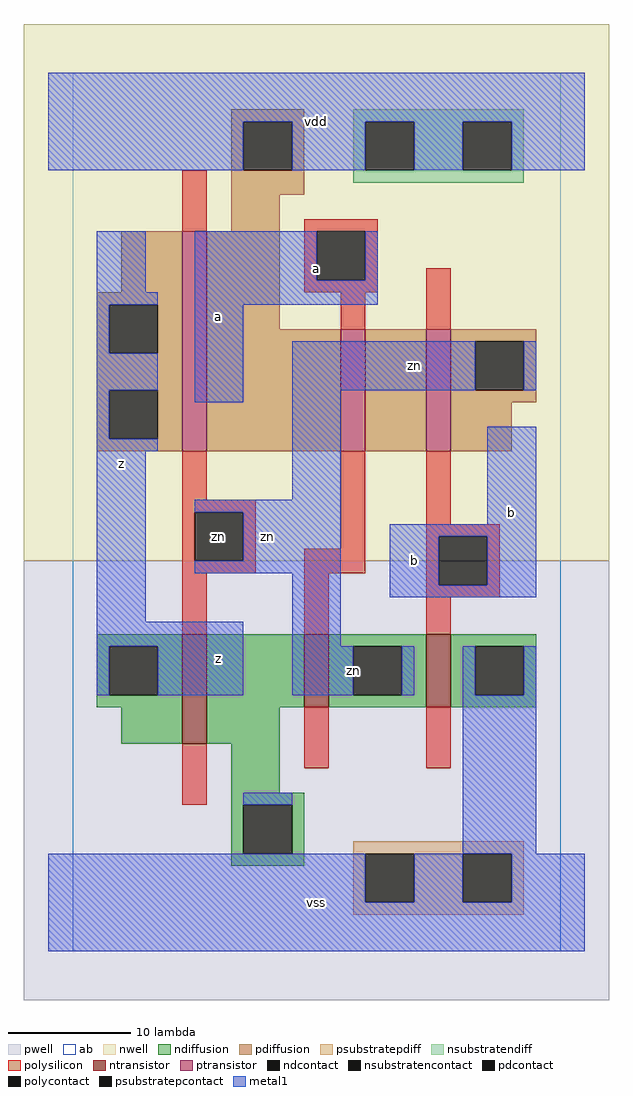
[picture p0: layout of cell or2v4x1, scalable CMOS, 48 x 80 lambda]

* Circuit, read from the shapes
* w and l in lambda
.subckt or2v4x1 a b vdd vss z zn
M1 vss zn z vss nfet w=9 l=2
M2 zn a vss vss nfet w=6 l=2
M3 vss b zn vss nfet w=6 l=2
M4 vdd zn z vdd pfet w=18 l=2
M5 n1 a vdd vdd pfet w=10 l=2
M6 zn b n1 vdd pfet w=10 l=2
.ends

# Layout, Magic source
magic
tech scmos
<< ab >>
rect 0 0 40 72
<< pwell >>
rect -4 -4 44 32
<< nwell >>
rect -4 32 44 76
<< polysilicon >>
rect 9 59 11 64
rect 19 59 25 60
rect 19 55 20 59
rect 24 55 25 59
rect 19 54 25 55
rect 22 51 24 54
rect 29 51 31 56
rect 9 37 11 41
rect 9 36 15 37
rect 9 32 10 36
rect 14 32 15 36
rect 22 33 24 41
rect 9 31 15 32
rect 19 31 24 33
rect 29 35 31 41
rect 29 34 35 35
rect 9 26 11 31
rect 19 26 21 31
rect 29 30 30 34
rect 34 30 35 34
rect 29 29 35 30
rect 29 26 31 29
rect 9 12 11 17
rect 19 15 21 20
rect 29 15 31 20
<< ndiffusion >>
rect 2 25 9 26
rect 2 21 3 25
rect 7 21 9 25
rect 2 20 9 21
rect 4 17 9 20
rect 11 20 19 26
rect 21 25 29 26
rect 21 21 23 25
rect 27 21 29 25
rect 21 20 29 21
rect 31 25 38 26
rect 31 21 33 25
rect 37 21 38 25
rect 31 20 38 21
rect 11 17 17 20
rect 13 13 17 17
rect 13 12 19 13
rect 13 8 14 12
rect 18 8 19 12
rect 13 7 19 8
<< pdiffusion >>
rect 13 68 19 69
rect 13 64 14 68
rect 18 64 19 68
rect 13 62 19 64
rect 13 59 17 62
rect 4 54 9 59
rect 2 53 9 54
rect 2 49 3 53
rect 7 49 9 53
rect 2 46 9 49
rect 2 42 3 46
rect 7 42 9 46
rect 2 41 9 42
rect 11 51 17 59
rect 11 41 22 51
rect 24 41 29 51
rect 31 50 38 51
rect 31 46 33 50
rect 37 46 38 50
rect 31 45 38 46
rect 31 41 36 45
<< metal1 >>
rect -2 68 42 72
rect -2 64 14 68
rect 18 64 24 68
rect 28 64 32 68
rect 36 64 42 68
rect 2 54 6 59
rect 10 55 20 59
rect 24 55 25 59
rect 2 53 7 54
rect 2 49 3 53
rect 2 46 7 49
rect 2 42 3 46
rect 10 53 25 55
rect 10 45 14 53
rect 18 46 33 50
rect 37 46 38 50
rect 2 41 7 42
rect 2 27 6 41
rect 18 37 22 46
rect 10 36 22 37
rect 14 32 22 36
rect 34 35 38 43
rect 10 31 22 32
rect 2 25 14 27
rect 2 21 3 25
rect 7 21 14 25
rect 18 25 22 31
rect 26 34 38 35
rect 26 30 30 34
rect 34 30 38 34
rect 26 29 38 30
rect 18 21 23 25
rect 27 21 28 25
rect 32 21 33 25
rect 37 21 38 25
rect 14 12 18 13
rect 32 8 38 21
rect -2 4 24 8
rect 28 4 32 8
rect 36 4 42 8
rect -2 0 42 4
<< ntransistor >>
rect 9 17 11 26
rect 19 20 21 26
rect 29 20 31 26
<< ptransistor >>
rect 9 41 11 59
rect 22 41 24 51
rect 29 41 31 51
<< polycontact >>
rect 20 55 24 59
rect 10 32 14 36
rect 30 30 34 34
<< ndcontact >>
rect 3 21 7 25
rect 23 21 27 25
rect 33 21 37 25
rect 14 8 18 12
<< pdcontact >>
rect 14 64 18 68
rect 3 49 7 53
rect 3 42 7 46
rect 33 46 37 50
<< psubstratepcontact >>
rect 24 4 28 8
rect 32 4 36 8
<< nsubstratencontact >>
rect 24 64 28 68
rect 32 64 36 68
<< psubstratepdiff >>
rect 23 8 37 9
rect 23 4 24 8
rect 28 4 32 8
rect 36 4 37 8
rect 23 3 37 4
<< nsubstratendiff >>
rect 23 68 37 69
rect 23 64 24 68
rect 28 64 32 68
rect 36 64 37 68
rect 23 63 37 64
<< labels >>
rlabel polycontact 12 34 12 34 6 zn
rlabel metal1 4 40 4 40 6 z
rlabel metal1 12 24 12 24 6 z
rlabel metal1 12 52 12 52 6 a
rlabel metal1 20 4 20 4 6 vss
rlabel metal1 23 23 23 23 6 zn
rlabel metal1 28 32 28 32 6 b
rlabel metal1 16 34 16 34 6 zn
rlabel metal1 20 56 20 56 6 a
rlabel metal1 20 68 20 68 6 vdd
rlabel metal1 36 36 36 36 6 b
rlabel metal1 28 48 28 48 6 zn
<< end >>
